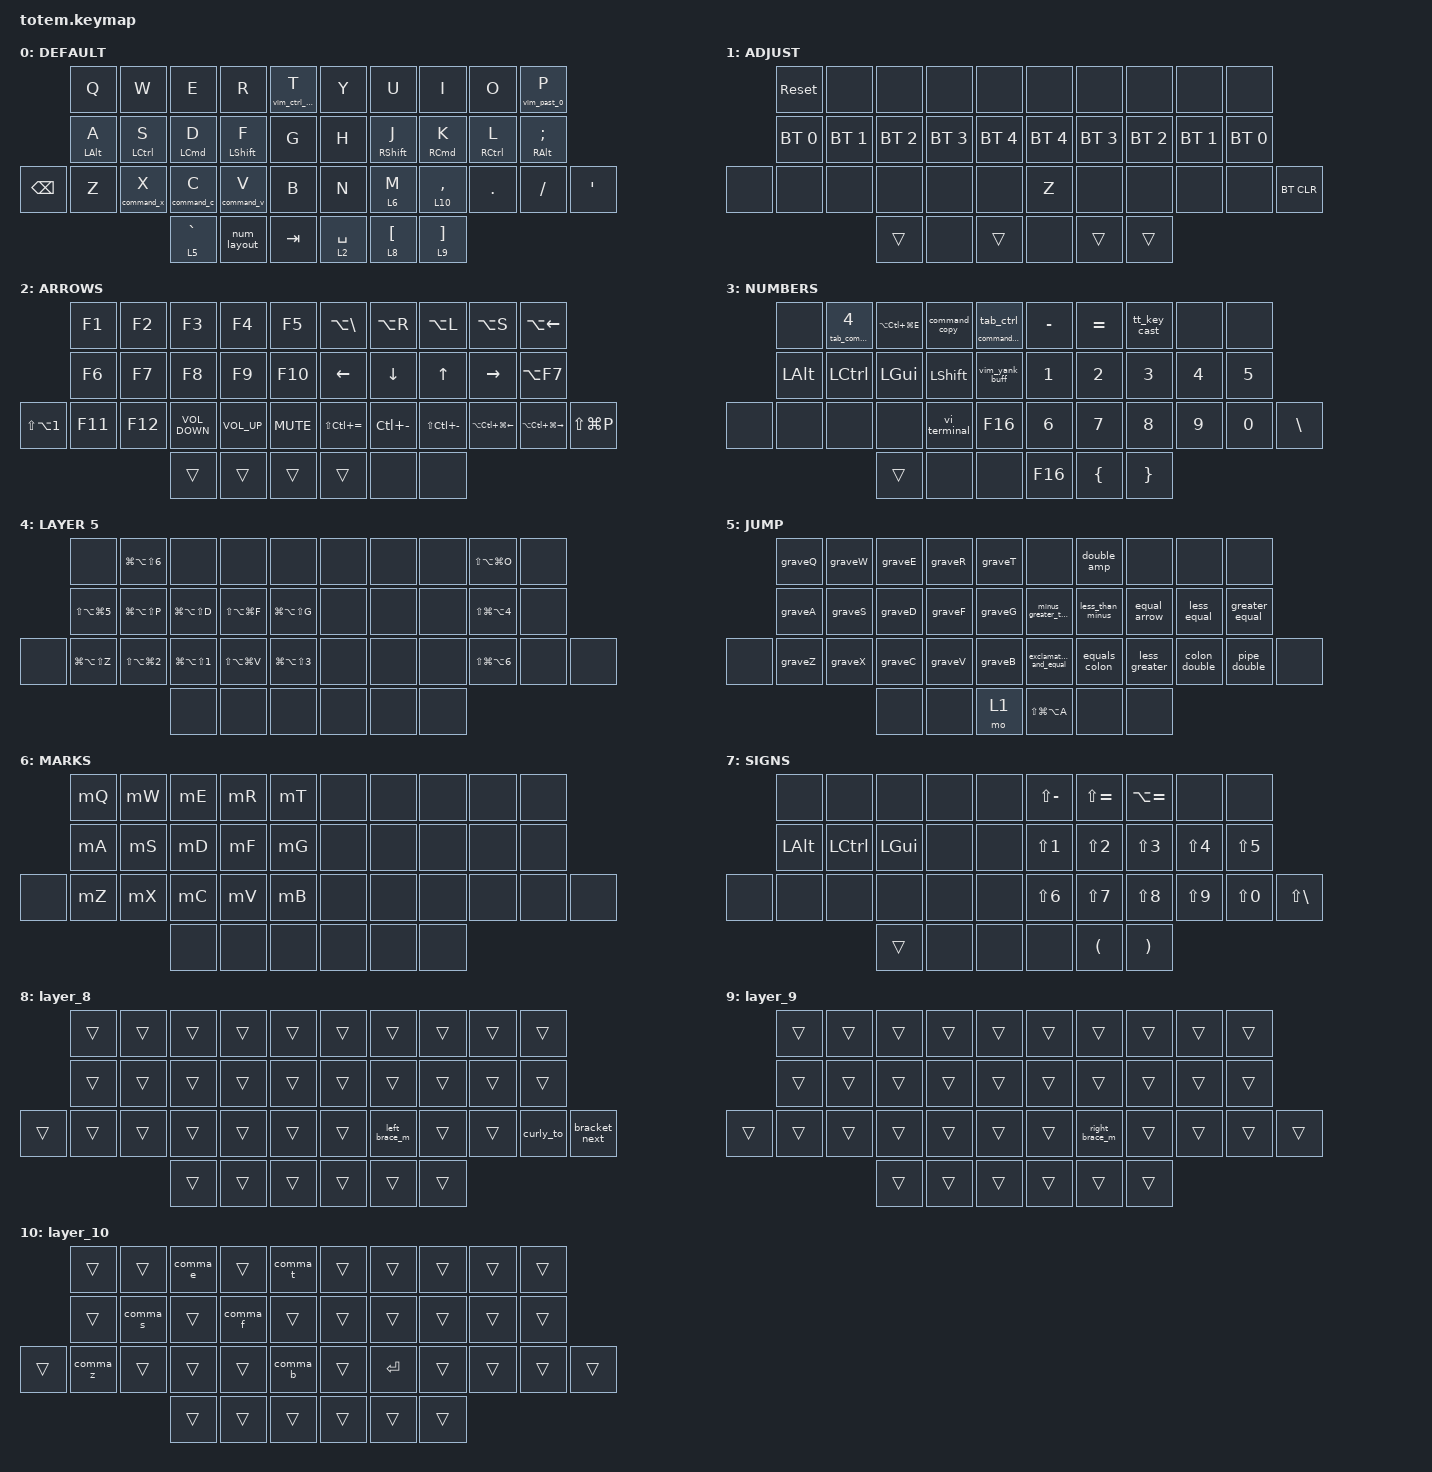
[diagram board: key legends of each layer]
//
//                                                        ▀▀▀▀▀     ▀▀▀▀▀          ▀▀█▀▀
//                                                        ▄▀▀▀▄  ▄  ▄▀▀▀▄  ▄  ▄▀▀▀▄  █  ▄▀▀▀▄
//                                                        █   █  █  █   █  █  █   █  █  █   █
//                                                         ▀▀▀   █   ▀▀▀   █   ▀▀▀   ▀   ▀▀▀
//                                                               █      ▄▄▄█▄▄▄    █   █  
//                                                               ▀      █  █  █     █▄█
//                                                             ▀▀▀▀▀    █  █  █      ▀
//                                                                      ▀  ▀  ▀
//
// ▄▄▄▄▄▄▄▄▄▄▄▄▄▄▄▄▄▄▄▄▄▄▄▄▄▄▄▄▄▄▄▄▄▄▄▄▄▄▄▄▄▄▄▄▄▄▄▄▄▄▄▄▄▄▄▄▄▄▄▄▄▄▄▄▄▄▄▄▄▄▄▄▄▄▄▄▄▄▄▄▄▄▄▄▄▄▄▄▄▄▄▄▄▄▄▄▄▄▄▄▄▄▄▄▄▄▄▄▄▄▄▄▄▄▄▄▄▄▄▄▄▄▄▄▄▄▄▄▄▄▄▄▄▄▄▄▄▄▄▄▄▄▄▄▄▄▄▄▄

#include <behaviors.dtsi>
#include <dt-bindings/zmk/bt.h>
#include <dt-bindings/zmk/keys.h>

#define DEF 0
#define ADJ 1
#define ARR 2
#define NUM 3
#define LY5 4
#define JMP 5
#define MRK 6
#define SGN 7

&lt { quick-tap-ms = <200>; };

&mt { quick-tap-ms = <200>; };

/ {
    conditional_layers { compatible = "zmk,conditional-layers"; };

    macros {
        vimCopyBuff: vimCopyBuff {
            compatible = "zmk,behavior-macro";
            #binding-cells = <0>;
            bindings = <&kp DQT &kp PLUS &kp Y>;
            label = "VIMCOPYBUFF";
        };

        minus_greater_than: new_macro {
            compatible = "zmk,behavior-macro";
            #binding-cells = <0>;
            bindings = <&kp MINUS &kp GT>;
            label = "NEW_MACRO";
        };

        alt_alt_without_releasing: new_macro2 {
            compatible = "zmk,behavior-macro";
            #binding-cells = <0>;
            bindings =
                <&macro_tap>,
                <&kp LEFT_ALT>,
                <&macro_press>,
                <&kp LEFT_ALT>,
                <&macro_pause_for_release>,
                <&macro_release>,
                <&kp LEFT_ALT>;

            label = "NEW_MACRO2";
        };

        shift_shift: shift_shift {
            compatible = "zmk,behavior-macro";
            #binding-cells = <0>;
            bindings = <&kp LEFT_SHIFT &kp LEFT_SHIFT>;
            label = "SHIFT_SHIFT";
        };

        exclamatory_and_equal: exclamatory_and_equal {
            compatible = "zmk,behavior-macro";
            #binding-cells = <0>;
            bindings = <&kp EXCL &kp EQUAL>;
            label = "EXCLAMATORY_AND_EQUAL";
        };

        less_than_minus: minus_less_than {
            compatible = "zmk,behavior-macro";
            #binding-cells = <0>;
            bindings = <&kp LESS_THAN &kp MINUS>;
            label = "minus_less_than";
        };

        equal_arrow: equal_arrow {
            compatible = "zmk,behavior-macro";
            #binding-cells = <0>;
            bindings = <&kp EQUAL &kp GT>;
            label = "EQUAL_ARROW";
        };

        equals_colon: equals_colon {
            compatible = "zmk,behavior-macro";
            #binding-cells = <0>;
            bindings = <&kp COLON &kp EQUAL>;
            label = "EQUALS_COLON";
        };

        less_greater: less_greater {
            compatible = "zmk,behavior-macro";
            #binding-cells = <0>;
            bindings = <&kp LT &kp GT &kp LEFT_ARROW>;
            label = "LESS_GREATER";
        };

        less_equal: less_equal {
            compatible = "zmk,behavior-macro";
            #binding-cells = <0>;
            bindings = <&kp LT &kp EQUAL>;
            label = "LESS_EQUAL";
        };

        greater_equal: greater_equal {
            compatible = "zmk,behavior-macro";
            #binding-cells = <0>;
            bindings = <&kp GT &kp EQUAL>;
            label = "GREATER_EQUAL";
        };

        colon_double: colon_double {
            compatible = "zmk,behavior-macro";
            #binding-cells = <0>;
            bindings = <&kp COLON &kp COLON>;
            label = "COLON_DOUBLE";
        };

        pipe_double: pipe_double {
            compatible = "zmk,behavior-macro";
            #binding-cells = <0>;
            bindings = <&kp PIPE &kp PIPE &kp LEFT_ARROW>;
            label = "PIPE_DOUBLE";
        };

        curly_brackets_double: curly_brackets_double {
            compatible = "zmk,behavior-macro";
            #binding-cells = <0>;
            bindings = <&kp LEFT_BRACE &kp RBRC &kp LEFT_ARROW>;
            label = "CURLY_BRACKETS_DOUBLE";
        };

        vimput: vimput {
            compatible = "zmk,behavior-macro";
            #binding-cells = <0>;
            bindings = <&kp DQT &kp N0 &kp P>;
            label = "VIMPUT";
        };

        vim_ctrl_caret: vim_ctrl_caret {
            compatible = "zmk,behavior-macro";
            #binding-cells = <0>;
            bindings =
                <&macro_tap>,
                <&kp LC(CARET)>,
                <&macro_press>,
                <&macro_pause_for_release>,
                <&macro_release>;

            label = "VIM_CTRL_CARET";
        };

        mQ: mQ {
            compatible = "zmk,behavior-macro";
            #binding-cells = <0>;
            bindings = <&kp M &kp LS(Q)>;
            label = "MQ";
        };

        graveQ: graveQ {
            compatible = "zmk,behavior-macro";
            #binding-cells = <0>;
            bindings = <&kp GRAVE &kp LS(Q)>;
            label = "GRAVEQ";
        };

        mW: mW {
            compatible = "zmk,behavior-macro";
            #binding-cells = <0>;
            bindings = <&kp M &kp LS(W)>;
            label = "MW";
        };

        graveW: graveW {
            compatible = "zmk,behavior-macro";
            #binding-cells = <0>;
            bindings = <&kp GRAVE &kp LS(W)>;
            label = "GRAVEW";
        };

        mE: mE {
            compatible = "zmk,behavior-macro";
            #binding-cells = <0>;
            bindings = <&kp M &kp LS(E)>;
            label = "ME";
        };

        graveE: graveE {
            compatible = "zmk,behavior-macro";
            #binding-cells = <0>;
            bindings = <&kp GRAVE &kp LS(E)>;
            label = "GRAVEE";
        };

        mR: mR {
            compatible = "zmk,behavior-macro";
            #binding-cells = <0>;
            bindings = <&kp M &kp LS(R)>;
            label = "MR";
        };

        graveR: graveR {
            compatible = "zmk,behavior-macro";
            #binding-cells = <0>;
            bindings = <&kp GRAVE &kp LS(R)>;
            label = "GRAVER";
        };

        mT: mT {
            compatible = "zmk,behavior-macro";
            #binding-cells = <0>;
            bindings = <&kp M &kp LS(T)>;
            label = "MT";
        };

        graveT: graveT {
            compatible = "zmk,behavior-macro";
            #binding-cells = <0>;
            bindings = <&kp GRAVE &kp LS(T)>;
            label = "GRAVET";
        };

        mA: mA {
            compatible = "zmk,behavior-macro";
            #binding-cells = <0>;
            bindings = <&kp M &kp LS(A)>;
            label = "MA";
        };

        graveA: graveA {
            compatible = "zmk,behavior-macro";
            #binding-cells = <0>;
            bindings = <&kp GRAVE &kp LS(A)>;
            label = "GRAVEA";
        };

        mS: mS {
            compatible = "zmk,behavior-macro";
            #binding-cells = <0>;
            bindings = <&kp M &kp LS(S)>;
            label = "MS";
        };

        graveS: graveS {
            compatible = "zmk,behavior-macro";
            #binding-cells = <0>;
            bindings = <&kp GRAVE &kp LS(S)>;
            label = "GRAVES";
        };

        mD: mD {
            compatible = "zmk,behavior-macro";
            #binding-cells = <0>;
            bindings = <&kp M &kp LS(D)>;
            label = "MD";
        };

        graveD: graveD {
            compatible = "zmk,behavior-macro";
            #binding-cells = <0>;
            bindings = <&kp GRAVE &kp LS(D)>;
            label = "GRAVED";
        };

        mF: mF {
            compatible = "zmk,behavior-macro";
            #binding-cells = <0>;
            bindings = <&kp M &kp LS(F)>;
            label = "MF";
        };

        graveF: graveF {
            compatible = "zmk,behavior-macro";
            #binding-cells = <0>;
            bindings = <&kp GRAVE &kp LS(F)>;
            label = "GRAVEF";
        };

        mG: mG {
            compatible = "zmk,behavior-macro";
            #binding-cells = <0>;
            bindings = <&kp M &kp LS(G)>;
            label = "MG";
        };

        graveG: graveG {
            compatible = "zmk,behavior-macro";
            #binding-cells = <0>;
            bindings = <&kp GRAVE &kp LS(G)>;
            label = "GRAVEG";
        };

        mZ: mZ {
            compatible = "zmk,behavior-macro";
            #binding-cells = <0>;
            bindings = <&kp M &kp LS(Z)>;
            label = "MZ";
        };

        graveZ: graveZ {
            compatible = "zmk,behavior-macro";
            #binding-cells = <0>;
            bindings = <&kp GRAVE &kp LS(Z)>;
            label = "GRAVEZ";
        };

        mX: mX {
            compatible = "zmk,behavior-macro";
            #binding-cells = <0>;
            bindings = <&kp M &kp LS(X)>;
            label = "MX";
        };

        graveX: graveX {
            compatible = "zmk,behavior-macro";
            #binding-cells = <0>;
            bindings = <&kp GRAVE &kp LS(X)>;
            label = "GRAVEX";
        };

        mC: mC {
            compatible = "zmk,behavior-macro";
            #binding-cells = <0>;
            bindings = <&kp M &kp LS(C)>;
            label = "MC";
        };

        graveC: graveC {
            compatible = "zmk,behavior-macro";
            #binding-cells = <0>;
            bindings = <&kp GRAVE &kp LS(C)>;
            label = "GRAVEC";
        };

        mV: mV {
            compatible = "zmk,behavior-macro";
            #binding-cells = <0>;
            bindings = <&kp M &kp LS(V)>;
            label = "MV";
        };

        graveV: graveV {
            compatible = "zmk,behavior-macro";
            #binding-cells = <0>;
            bindings = <&kp GRAVE &kp LS(V)>;
            label = "GRAVEV";
        };

        mB: mB {
            compatible = "zmk,behavior-macro";
            #binding-cells = <0>;
            bindings = <&kp M &kp LS(B)>;
            label = "MB";
        };

        graveB: graveB {
            compatible = "zmk,behavior-macro";
            #binding-cells = <0>;
            bindings = <&kp GRAVE &kp LS(B)>;
            label = "GRAVEB";
        };

        vim_yank_buff: vim_yank_buff {
            compatible = "zmk,behavior-macro";
            #binding-cells = <0>;
            bindings =
                <&macro_tap>,
                <&kp DQT &kp PLUS &kp Y>,
                <&macro_press>,
                <&macro_pause_for_release>,
                <&macro_release>;

            label = "VIM_YANK_BUFF";
        };

        vim_past_0: vim_past_0 {
            compatible = "zmk,behavior-macro";
            #binding-cells = <0>;
            bindings =
                <&macro_tap>,
                <&kp DQT &kp N0 &kp P>,
                <&macro_press>,
                <&macro_pause_for_release>,
                <&macro_release>;

            label = "VIM_PAST_0";
        };

        command_copy: command_copy {
            compatible = "zmk,behavior-macro";
            #binding-cells = <0>;
            bindings = <&kp COLON &kp PRCNT &kp Y &kp PLUS &kp ENTER>;
            label = "COMMAND_COPY";
        };

        right_parenthesis: bracket_closing {
            compatible = "zmk,behavior-macro";
            #binding-cells = <0>;
            bindings =
                <&macro_tap>,
                <&kp RIGHT_PARENTHESIS>,
                <&macro_press>,
                <&macro_pause_for_release>,
                <&macro_release>;

            label = "BRACKET_CLOSING";
        };

        tab_command: tab_command {
            compatible = "zmk,behavior-macro";
            #binding-cells = <0>;
            bindings =
                <&macro_tap>,
                <&kp LG(TAB)>,
                <&macro_press>,
                <&macro_pause_for_release>,
                <&macro_release>;

            label = "TAB_COMMAND";
        };

        ctrl_o: ctrl_o {
            compatible = "zmk,behavior-macro";
            #binding-cells = <0>;
            bindings =
                <&macro_tap>,
                <&kp LC(O)>,
                <&macro_press>,
                <&macro_pause_for_release>,
                <&macro_release>;

            label = "CTRL_O";
        };

        ctrl_i: ctrl_i {
            compatible = "zmk,behavior-macro";
            #binding-cells = <0>;
            bindings =
                <&macro_tap>,
                <&kp LC(I)>,
                <&macro_press>,
                <&macro_pause_for_release>,
                <&macro_release>;

            label = "CTRL_I";
        };

        slash__enter: slash__enter {
            compatible = "zmk,behavior-macro";
            #binding-cells = <0>;
            bindings = <&kp FSLH &kp UNDER &kp UNDER &kp ENTER>;
            label = "SLASH__ENTER";
        };

        command_v: command_v {
            compatible = "zmk,behavior-macro";
            #binding-cells = <0>;
            bindings =
                <&macro_tap>,
                <&kp LG(V)>,
                <&macro_press>,
                <&macro_pause_for_release>,
                <&macro_release>;

            label = "COMMAND_V";
        };

        command_c: command_c {
            compatible = "zmk,behavior-macro";
            #binding-cells = <0>;
            bindings =
                <&macro_tap>,
                <&kp LG(C)>,
                <&macro_press>,
                <&macro_pause_for_release>,
                <&macro_release>;

            label = "COMMAND_C";
        };

        command_x: command_x {
            compatible = "zmk,behavior-macro";
            #binding-cells = <0>;
            bindings =
                <&macro_tap>,
                <&kp LG(X)>,
                <&macro_press>,
                <&macro_pause_for_release>,
                <&macro_release>;

            label = "COMMAND_X";
        };

        tab_ctrl: tab_ctrl {
            compatible = "zmk,behavior-macro";
            #binding-cells = <0>;
            bindings =
                <&macro_tap>,
                <&kp LC(TAB)>,
                <&macro_press>,
                <&macro_pause_for_release>,
                <&macro_release>;

            label = "TAB_CTRL";
        };

        command_grave: command_grave {
            compatible = "zmk,behavior-macro";
            #binding-cells = <0>;
            bindings =
                <&macro_tap>,
                <&kp LG(GRAVE)>,
                <&macro_press>,
                <&macro_pause_for_release>,
                <&macro_release>;

            label = "COMMAND_GRAVE";
        };

        tt_key_cast: tt_key_cast {
            compatible = "zmk,behavior-macro";
            #binding-cells = <0>;
            bindings = <&kp LC(SPACE) &kp Z &kp LC(SPACE) &kp J &kp LG(NUMBER_1)>;
            label = "TT_KEY_CAST";
        };

        unicode_smile: unicode_smile {
            compatible = "zmk,behavior-macro";
            #binding-cells = <0>;
            bindings = <&kp LC(V) &kp U &kp NUMBER_2 &kp NUMBER_6 &kp NUMBER_3 &kp A>;
            label = "UNICODE_SMILE";
        };

        unicode_smile_2: unicode_smile_2 {
            compatible = "zmk,behavior-macro";
            #binding-cells = <0>;
            bindings = <&kp LC(V) &kp LS(U) &kp N0 &kp N0 &kp N0 &kp N1 &kp LS(F) &kp N6 &kp N0 &kp N0>;
            label = "UNICODE_SMILE_2";
        };

        right_brace_m: right_brace_m {
            compatible = "zmk,behavior-macro";
            #binding-cells = <0>;
            bindings = <&kp RIGHT_BRACKET &kp M>;
            label = "RIGHT_BRACE_M";
        };

        left_brace_m: left_brace_m {
            compatible = "zmk,behavior-macro";
            #binding-cells = <0>;
            bindings =
                <&macro_tap>,
                <&kp LEFT_BRACKET &kp M>,
                <&macro_press>,
                <&macro_pause_for_release>,
                <&macro_release>,
                <&macro_tap>;

            label = "LEFT_BRACE_M";
        };

        bracket_to: bracket_to {
            compatible = "zmk,behavior-macro";
            #binding-cells = <0>;
            bindings = <&kp H &kp V &kp A &kp LPAR &kp PRCNT &kp V>;
            label = "BRACKET_TO";
        };

        curly_to: curly_to {
            compatible = "zmk,behavior-macro";
            #binding-cells = <0>;
            bindings = <&kp H &kp V &kp A &kp LEFT_BRACE &kp PRCNT &kp V>;
            label = "CURLY_TO";
        };

        bracket_next: bracket_next {
            compatible = "zmk,behavior-macro";
            #binding-cells = <0>;
            bindings = <&kp L &kp V &kp A &kp LPAR &kp V>;
            label = "BRACKET_NEXT";
        };

        curly_next: curly_next {
            compatible = "zmk,behavior-macro";
            #binding-cells = <0>;
            bindings = <&kp L &kp V &kp A &kp LEFT_BRACE &kp DOLLAR &kp V>;
            label = "CURLY_NEXT";
        };

        vi_terminal: vi_terminal {
            compatible = "zmk,behavior-macro";
            #binding-cells = <0>;
            bindings = <&hml LG(RCTRL) LC(SPACE) &kp M &kp ENTER &kp V>;
            label = "VI_TERMINAL";
        };
    };

    behaviors {
        comma_s: comma_s {
            compatible = "zmk,behavior-macro";
            #binding-cells = <0>;
            bindings = <&kp COMMA &kp S>;
        };

        comma_e: comma_e {
            compatible = "zmk,behavior-macro";
            #binding-cells = <0>;
            bindings = <&kp COMMA &kp E>;
        };

        comma_t: comma_t {
            compatible = "zmk,behavior-macro";
            #binding-cells = <0>;
            bindings = <&kp COMMA &kp T>;
        };

        comma_f: comma_f {
            compatible = "zmk,behavior-macro";
            #binding-cells = <0>;
            bindings = <&kp COMMA &kp F>;
        };

        comma_z: comma_z {
            compatible = "zmk,behavior-macro";
            #binding-cells = <0>;
            bindings = <&kp COMMA &kp Z>;
        };

        comma_b: comma_b {
            compatible = "zmk,behavior-macro";
            #binding-cells = <0>;
            bindings = <&kp COMMA &kp B>;
        };

        double_amp: double_amp {
            compatible = "zmk,behavior-macro";
            #binding-cells = <0>;
            bindings = <&kp SPACE &kp AMPERSAND &kp AMPERSAND>;
            label = "DOUBLE_AMP";
        };

        vimCopyBuffHold: vimCopyBuffHold {
            compatible = "zmk,behavior-hold-tap";
            label = "VIMCOPYBUFFHOLD";
            bindings = <&mo>, <&vimCopyBuff>;

            #binding-cells = <2>;
            tapping-term-ms = <200>;
        };

        hml: homewrow_mods_left {
            compatible = "zmk,behavior-hold-tap";
            label = "HOMEROW_MODS_LEFT_HAND";
            bindings = <&kp>, <&kp>;

            #binding-cells = <2>;
            tapping-term-ms = <200>;
            hold-trigger-key-positions = <5 6 7 8 9 15 16 17 18 19 26 27 28 29 30 31 35 36 37 20 21 22 14 25 0 1 2 3 4 23 24 32 33 34 3 4 13 14 24 25 0 1 2 3 4 10 11 12 13 14 20 21 22 23 24 25 32 33 34>;
            flavor = "tap-preferred";
            hold-while-undecided;
        };

        hml_preferred: homewrow_mods_right {
            compatible = "zmk,behavior-hold-tap";
            label = "HOMEROW_MODS_RIGHT_HAND";
            bindings = <&kp>, <&kp>;

            #binding-cells = <2>;
            tapping-term-ms = <200>;
            hold-trigger-key-positions = <5 6 7 8 9 31 30 29 28 27 16 15 36 37 26 19 18 17 35>;
        };

        mt_hold_prefer_release: mt_hold_prefer_release {
            compatible = "zmk,behavior-hold-tap";
            label = "MT_HOLD_PREFER_RELEASE";
            bindings = <&kp>, <&kp>;

            #binding-cells = <2>;
            tapping-term-ms = <200>;
            hold-trigger-key-positions = <0 1 2 3 4 5 6 7 8 9 10 11 12 13 14 15 16 17 18 19 20 21 22 23 24 25 26 27 28 29 30 31 25 26 32 33 34 35 36 37>;
            hold-trigger-on-release;
        };

        lt_hold_prefer_release: lt_hold_prefer_release {
            compatible = "zmk,behavior-hold-tap";
            label = "LT_HOLD_PREFER_RELEASE";
            bindings = <&mo>, <&kp>;

            #binding-cells = <2>;
            tapping-term-ms = <200>;
            hold-trigger-on-release;
        };

        layer7_a: layer7_a {
            compatible = "zmk,behavior-hold-tap";
            label = "LAYER7_A";
            bindings = <&alt_alt_without_releasing>, <&minus_greater_than>;

            #binding-cells = <2>;
            tapping-term-ms = <200>;
            flavor = "tap-preferred";
        };

        layer7_f: layer7_f {
            compatible = "zmk,behavior-hold-tap";
            label = "LAYER7_F";
            bindings = <&shift_shift>, <&exclamatory_and_equal>;

            #binding-cells = <2>;
            tapping-term-ms = <200>;
            flavor = "tap-preferred";
        };

        brackets: brackets {
            compatible = "zmk,behavior-hold-tap";
            label = "BRACKETS";
            bindings = <&mo>, <&kp>;

            #binding-cells = <2>;
            tapping-term-ms = <100>;
            hold-trigger-on-release;
            flavor = "balanced";
            hold-while-undecided;
        };

        mt2: mt2 {
            compatible = "zmk,behavior-hold-tap";
            label = "MT2";
            bindings = <&sk>, <&kp>;

            #binding-cells = <2>;
            tapping-term-ms = <200>;
            quick-tap-ms = <100>;
            flavor = "tap-preferred";
            hold-trigger-on-release;
        };

        lt_tap_prefer_release: lt_tap_prefer_release {
            compatible = "zmk,behavior-hold-tap";
            label = "LT_TAP_PREFER_RELEASE";
            bindings = <&mo>, <&kp>;

            #binding-cells = <2>;
            tapping-term-ms = <200>;
            flavor = "tap-preferred";
            retro-tap;
        };

        kp_and_vim_ctrl_caret: kp_and_vim_ctrl_caret {
            compatible = "zmk,behavior-hold-tap";
            label = "KP_AND_VIM_CTRL_CARET";
            bindings = <&vim_ctrl_caret>, <&kp>;

            #binding-cells = <2>;
            tapping-term-ms = <200>;
            flavor = "tap-preferred";
        };

        lt_hold_prefer_release2: lt_hold_prefer_release2 {
            compatible = "zmk,behavior-hold-tap";
            label = "LT_HOLD_PREFER_RELEASE2";
            bindings = <&mo>, <&sl1000>;

            #binding-cells = <2>;
            tapping-term-ms = <200>;
            hold-trigger-on-release;
        };

        sl1000: sl1000 {
            compatible = "zmk,behavior-sticky-key";
            label = "SL1000";
            bindings = <&mo>;
            #binding-cells = <1>;
            release-after-ms = <1000>;
        };

        kp_and_vim_yank_buff: kp_and_vim_yank_buff {
            compatible = "zmk,behavior-hold-tap";
            label = "KP_AND_VIM_YANK_BUFF";
            bindings = <&vim_yank_buff>, <&kp>;

            #binding-cells = <2>;
            tapping-term-ms = <200>;
            flavor = "tap-preferred";
        };

        kp_and_vim_past_0: kp_and_vim_past_0 {
            compatible = "zmk,behavior-hold-tap";
            label = "KP_AND_VIM_PAST_0";
            bindings = <&vim_past_0>, <&kp>;

            #binding-cells = <2>;
            tapping-term-ms = <200>;
            flavor = "tap-preferred";
        };

        nums_signs_layer: nums_signs_layer {
            compatible = "zmk,behavior-tap-dance";
            label = "NUMS_SIGNS_LAYER";
            #binding-cells = <0>;
            bindings = <&mo 3>, <&mo 7>;

            tapping-term-ms = <500>;
        };

        right_parenthesis_left: right_parenthesis_left {
            compatible = "zmk,behavior-hold-tap";
            label = "RIGHT_PARENTHESIS_LEFT";
            bindings = <&right_parenthesis>, <&kp>;

            #binding-cells = <2>;
            tapping-term-ms = <200>;
            flavor = "tap-preferred";
        };

        tab_command_tab: tab_command_tab {
            compatible = "zmk,behavior-hold-tap";
            label = "TAB_COMMAND_TAB";
            bindings = <&tab_command>, <&sl1000>;

            #binding-cells = <2>;
            tapping-term-ms = <200>;
            flavor = "tap-preferred";
        };

        ctrl_o_o: ctrl_o_o {
            compatible = "zmk,behavior-hold-tap";
            label = "CTRL_O_O";
            bindings = <&ctrl_o>, <&kp>;

            #binding-cells = <2>;
            tapping-term-ms = <200>;
            flavor = "tap-preferred";
        };

        sign_layout: sign_layout {
            compatible = "zmk,behavior-hold-tap";
            label = "SIGN_LAYOUT";
            bindings = <&mo>, <&sl>;

            #binding-cells = <2>;
            tapping-term-ms = <200>;
        };

        num_layout: num_layout {
            compatible = "zmk,behavior-tap-dance";
            label = "NUM_LAYOUT";
            #binding-cells = <0>;
            bindings = <&mo 3>, <&sign_layout 7 7>;

            tapping-term-ms = <400>;
        };

        ctrl_i_i: ctrl_i_i {
            compatible = "zmk,behavior-hold-tap";
            label = "CTRL_I_I";
            bindings = <&ctrl_i>, <&kp>;

            #binding-cells = <2>;
            tapping-term-ms = <200>;
            flavor = "tap-preferred";
        };

        v_command_v: v_command_v {
            compatible = "zmk,behavior-hold-tap";
            label = "V_COMMAND_V";
            bindings = <&command_v>, <&kp>;

            #binding-cells = <2>;
            tapping-term-ms = <200>;
            flavor = "tap-preferred";
        };

        c_command_c: c_command_c {
            compatible = "zmk,behavior-hold-tap";
            label = "C_COMMAND_C";
            bindings = <&command_c>, <&kp>;

            #binding-cells = <2>;
            tapping-term-ms = <200>;
            flavor = "tap-preferred";
        };

        x_command_x: x_command_x {
            compatible = "zmk,behavior-hold-tap";
            label = "X_COMMAND_X";
            bindings = <&command_x>, <&kp>;

            #binding-cells = <2>;
            tapping-term-ms = <200>;
            flavor = "tap-preferred";
        };

        tab_ctrl_tab: tab_ctrl_tab {
            compatible = "zmk,behavior-hold-tap";
            label = "TAB_CTRL_TAB";
            bindings = <&tab_ctrl>, <&kp>;

            #binding-cells = <2>;
            tapping-term-ms = <200>;
            flavor = "tap-preferred";
        };

        command_grave_command: command_grave_command {
            compatible = "zmk,behavior-hold-tap";
            label = "COMMAND_GRAVE_COMMAND";
            bindings = <&command_grave>, <&tab_ctrl>;

            #binding-cells = <2>;
            tapping-term-ms = <200>;
            flavor = "tap-preferred";
        };

        kp_and_vim_yank_buff_2: kp_and_vim_yank_buff_2 {
            compatible = "zmk,behavior-hold-tap";
            label = "KP_AND_VIM_YANK_BUFF_2";
            bindings = <&slash__enter>, <&vim_yank_buff>;

            #binding-cells = <2>;
            tapping-term-ms = <200>;
            flavor = "tap-preferred";
        };

        tap_dance_yank: tap_dance_yank {
            compatible = "zmk,behavior-tap-dance";
            label = "TAP_DANCE_YANK";
            #binding-cells = <0>;
            bindings = <&kp Y>, <&vim_yank_buff>;

            tapping-term-ms = <150>;
        };

        lt_hold_prefer_release_retro: lt_hold_prefer_release_retro {
            compatible = "zmk,behavior-hold-tap";
            label = "LT_HOLD_PREFER_RELEASE_RETRO";
            bindings = <&mo>, <&kp>;

            #binding-cells = <2>;
            tapping-term-ms = <200>;
            hold-trigger-on-release;
            retro-tap;
        };
    };

    combos {
        compatible = "zmk,combos";

        ctrl+space {
            bindings = <&hml LG(RCTRL) LC(SPACE)>;
            key-positions = <17 18>;
            layers = <0>;
            timeout-ms = <200>;
        };

        escape3 {
            bindings = <&mt LG(LEFT_SHIFT) ESCAPE>;
            key-positions = <16 17>;
            layers = <0>;
            require-prior-idle-ms = <100>;
        };

        ctrl_o {
            bindings = <&kp LC(O)>;
            key-positions = <18 8>;
            require-prior-idle-ms = <200>;
            layers = <0>;
        };

        enter2 {
            bindings = <&kp ENTER>;
            key-positions = <28 27>;
            timeout-ms = <400>;
            require-prior-idle-ms = <100>;
            layers = <0>;
        };
    };

    keymap {
        compatible = "zmk,keymap";

        default_layer {
            // ┏━━━━━━━━━━━━━━━━━━━━━━━━━━━━━━━━━━━━━━━┓

            label = "DEFAULT";

            // ┗━━━━━━━━━━━━━━━━━━━━━━━━━━━━━━━━━━━━━━━┛
            //             ┏━━━━━━━━━━━┳━━━━━━━━━━━┳━━━━━━━━━━━┳━━━━━━━━━━━┳━━━━━━━━━━━┓   ┏━━━━━━━━━━━┳━━━━━━━━━━━┳━━━━━━━━━━━┳━━━━━━━━━━━┳━━━━━━━━━━━┓
            //             ┃           ┃           ┃           ┃           ┃           ┃   ┃           ┃           ┃           ┃           ┃           ┃
            //             ┣━━━━━━━━━━━╋━━━━━━━━━━━╋━━━━━━━━━━━╋━━━━━━━━━━━╋━━━━━━━━━━━┫   ┣━━━━━━━━━━━╋━━━━━━━━━━━╋━━━━━━━━━━━╋━━━━━━━━━━━╋━━━━━━━━━━━┫
            //             ┃           ┃           ┃           ┃           ┃           ┃   ┃           ┃           ┃           ┃           ┃           ┃
            // ┏━━━━━━━━━━━╋━━━━━━━━━━━╋━━━━━━━━━━━╋━━━━━━━━━━━╋━━━━━━━━━━━╋━━━━━━━━━━━┫   ┣━━━━━━━━━━━╋━━━━━━━━━━━╋━━━━━━━━━━━╋━━━━━━━━━━━╋━━━━━━━━━━━╋━━━━━━━━━━━┓
            // ┃           ┃           ┃           ┃           ┃           ┃           ┃   ┃           ┃           ┃           ┃           ┃           ┃           ┃
            // ┗━━━━━━━━━━━┻━━━━━━━━━━━┻━━━━━━━━━━━╋━━━━━━━━━━━╋━━━━━━━━━━━╋━━━━━━━━━━━┫   ┣━━━━━━━━━━━╋━━━━━━━━━━━╋━━━━━━━━━━━╋━━━━━━━━━━━┻━━━━━━━━━━━┻━━━━━━━━━━━┛
            //                                     ┃           ┃           ┃           ┃   ┃           ┃           ┃           ┃
            //                                     ┗━━━━━━━━━━━┻━━━━━━━━━━━┻━━━━━━━━━━━┛   ┗━━━━━━━━━━━┻━━━━━━━━━━━┻━━━━━━━━━━━┛

            bindings = <
               &kp Q            &kp W             &kp E                            &kp R              &kp_and_vim_ctrl_caret 0 T    &kp Y                           &kp U                                         &kp I                                          &kp O         &kp_and_vim_past_0 0 P
               &hml LEFT_ALT A  &hml LCTRL S      &hml LEFT_COMMAND D              &hml LEFT_SHIFT F  &kp G                         &kp H                           &hml RIGHT_SHIFT J                            &hml RIGHT_COMMAND K                           &hml RCTRL L  &hml RIGHT_ALT SEMICOLON
&kp BACKSPACE  &kp Z            &x_command_x 0 X  &c_command_c 0 C                 &v_command_v 0 V   &kp B                         &kp N                           &lt_tap_prefer_release 6 M                    &lt_hold_prefer_release_retro 10 COMMA         &kp DOT       &kp SLASH                 &kp SQT
                                                  &lt_hold_prefer_release 5 GRAVE  &num_layout        &kp TAB                       &lt_tap_prefer_release 2 SPACE  &lt_hold_prefer_release_retro 8 LEFT_BRACKET  &lt_hold_prefer_release_retro 9 RIGHT_BRACKET
            >;
        };

        adjust {
            // ┏━━━━━━━━━━━━━━━━━━━━━━━━━━━━━━━━━━━━━━━┓

            label = "ADJUST";

            // ┗━━━━━━━━━━━━━━━━━━━━━━━━━━━━━━━━━━━━━━━┛
            //             ┏━━━━━━━━━━━┳━━━━━━━━━━━┳━━━━━━━━━━━┳━━━━━━━━━━━┳━━━━━━━━━━━┓   ┏━━━━━━━━━━━┳━━━━━━━━━━━┳━━━━━━━━━━━┳━━━━━━━━━━━┳━━━━━━━━━━━┓
            //             ┃           ┃           ┃           ┃           ┃           ┃   ┃           ┃           ┃           ┃           ┃           ┃
            //             ┣━━━━━━━━━━━╋━━━━━━━━━━━╋━━━━━━━━━━━╋━━━━━━━━━━━╋━━━━━━━━━━━┫   ┣━━━━━━━━━━━╋━━━━━━━━━━━╋━━━━━━━━━━━╋━━━━━━━━━━━╋━━━━━━━━━━━┫
            //             ┃           ┃           ┃           ┃           ┃           ┃   ┃           ┃           ┃           ┃           ┃           ┃
            // ┏━━━━━━━━━━━╋━━━━━━━━━━━╋━━━━━━━━━━━╋━━━━━━━━━━━╋━━━━━━━━━━━╋━━━━━━━━━━━┫   ┣━━━━━━━━━━━╋━━━━━━━━━━━╋━━━━━━━━━━━╋━━━━━━━━━━━╋━━━━━━━━━━━╋━━━━━━━━━━━┓
            // ┃           ┃           ┃           ┃           ┃           ┃           ┃   ┃           ┃           ┃           ┃           ┃           ┃           ┃
            // ┗━━━━━━━━━━━┻━━━━━━━━━━━┻━━━━━━━━━━━╋━━━━━━━━━━━╋━━━━━━━━━━━╋━━━━━━━━━━━┫   ┣━━━━━━━━━━━╋━━━━━━━━━━━╋━━━━━━━━━━━╋━━━━━━━━━━━┻━━━━━━━━━━━┻━━━━━━━━━━━┛
            //                                     ┃           ┃           ┃           ┃   ┃           ┃           ┃           ┃
            //                                     ┗━━━━━━━━━━━┻━━━━━━━━━━━┻━━━━━━━━━━━┛   ┗━━━━━━━━━━━┻━━━━━━━━━━━┻━━━━━━━━━━━┛

            bindings = <
       &sys_reset    &none         &none         &none         &none           &none         &none         &none         &none         &none
       &bt BT_SEL 0  &bt BT_SEL 1  &bt BT_SEL 2  &bt BT_SEL 3  &bt BT_SEL 4    &bt BT_SEL 4  &bt BT_SEL 3  &bt BT_SEL 2  &bt BT_SEL 1  &bt BT_SEL 0
&none  &none         &none         &none         &none         &none           &kp Z         &none         &none         &none         &none         &bt BT_CLR
                                   &trans        &none         &trans          &none         &trans        &trans
            >;
        };

        arrows {
            // ┏━━━━━━━━━━━━━━━━━━━━━━━━━━━━━━━━━━━━━━━┓

            label = "ARROWS";

            // ┗━━━━━━━━━━━━━━━━━━━━━━━━━━━━━━━━━━━━━━━┛
            //             ┏━━━━━━━━━━━┳━━━━━━━━━━━┳━━━━━━━━━━━┳━━━━━━━━━━━┳━━━━━━━━━━━┓   ┏━━━━━━━━━━━┳━━━━━━━━━━━┳━━━━━━━━━━━┳━━━━━━━━━━━┳━━━━━━━━━━━┓
            //             ┃           ┃           ┃           ┃           ┃           ┃   ┃           ┃           ┃           ┃           ┃           ┃
            //             ┣━━━━━━━━━━━╋━━━━━━━━━━━╋━━━━━━━━━━━╋━━━━━━━━━━━╋━━━━━━━━━━━┫   ┣━━━━━━━━━━━╋━━━━━━━━━━━╋━━━━━━━━━━━╋━━━━━━━━━━━╋━━━━━━━━━━━┫
            //             ┃           ┃           ┃           ┃           ┃           ┃   ┃           ┃           ┃           ┃           ┃           ┃
            // ┏━━━━━━━━━━━╋━━━━━━━━━━━╋━━━━━━━━━━━╋━━━━━━━━━━━╋━━━━━━━━━━━╋━━━━━━━━━━━┫   ┣━━━━━━━━━━━╋━━━━━━━━━━━╋━━━━━━━━━━━╋━━━━━━━━━━━╋━━━━━━━━━━━╋━━━━━━━━━━━┓
            // ┃           ┃           ┃           ┃           ┃           ┃           ┃   ┃           ┃           ┃           ┃           ┃           ┃           ┃
            // ┗━━━━━━━━━━━┻━━━━━━━━━━━┻━━━━━━━━━━━╋━━━━━━━━━━━╋━━━━━━━━━━━╋━━━━━━━━━━━┫   ┣━━━━━━━━━━━╋━━━━━━━━━━━╋━━━━━━━━━━━╋━━━━━━━━━━━┻━━━━━━━━━━━┻━━━━━━━━━━━┛
            //                                     ┃           ┃           ┃           ┃   ┃           ┃           ┃           ┃
            //                                     ┗━━━━━━━━━━━┻━━━━━━━━━━━┻━━━━━━━━━━━┛   ┗━━━━━━━━━━━┻━━━━━━━━━━━┻━━━━━━━━━━━┛

            bindings = <
                      &kp F1   &kp F2   &kp F3             &kp F4           &kp F5        &kp LA(BSLH)       &kp LA(R)       &kp LA(L)          &kp LA(S)                   &kp LA(LEFT_ARROW)
                      &kp F6   &kp F7   &kp F8             &kp F9           &kp F10       &kp LEFT_ARROW     &kp DOWN_ARROW  &kp UP_ARROW       &kp RIGHT_ARROW             &kp LA(F7)
&kp LS(LA(NUMBER_1))  &kp F11  &kp F12  &kp C_VOLUME_DOWN  &kp C_VOLUME_UP  &kp C_MUTE    &kp LS(LC(EQUAL))  &kp LC(MINUS)   &kp LS(LC(MINUS))  &kp LA(LC(LG(LEFT_ARROW)))  &kp LA(LC(LG(RIGHT_ARROW)))  &kp LS(LG(P))
                                        &trans             &trans           &trans        &trans             &none           &none
            >;
        };

        numbers {
            // ┏━━━━━━━━━━━━━━━━━━━━━━━━━━━━━━━━━━━━━━━┓

            label = "NUMBERS";

            // ┗━━━━━━━━━━━━━━━━━━━━━━━━━━━━━━━━━━━━━━━┛
            //             ┏━━━━━━━━━━━┳━━━━━━━━━━━┳━━━━━━━━━━━┳━━━━━━━━━━━┳━━━━━━━━━━━┓   ┏━━━━━━━━━━━┳━━━━━━━━━━━┳━━━━━━━━━━━┳━━━━━━━━━━━┳━━━━━━━━━━━┓
            //             ┃           ┃           ┃           ┃           ┃           ┃   ┃           ┃           ┃           ┃           ┃           ┃
            //             ┣━━━━━━━━━━━╋━━━━━━━━━━━╋━━━━━━━━━━━╋━━━━━━━━━━━╋━━━━━━━━━━━┫   ┣━━━━━━━━━━━╋━━━━━━━━━━━╋━━━━━━━━━━━╋━━━━━━━━━━━╋━━━━━━━━━━━┫
            //             ┃           ┃           ┃           ┃           ┃           ┃   ┃           ┃           ┃           ┃           ┃           ┃
            // ┏━━━━━━━━━━━╋━━━━━━━━━━━╋━━━━━━━━━━━╋━━━━━━━━━━━╋━━━━━━━━━━━╋━━━━━━━━━━━┫   ┣━━━━━━━━━━━╋━━━━━━━━━━━╋━━━━━━━━━━━╋━━━━━━━━━━━╋━━━━━━━━━━━╋━━━━━━━━━━━┓
            // ┃           ┃           ┃           ┃           ┃           ┃           ┃   ┃           ┃           ┃           ┃           ┃           ┃           ┃
            // ┗━━━━━━━━━━━┻━━━━━━━━━━━┻━━━━━━━━━━━╋━━━━━━━━━━━╋━━━━━━━━━━━╋━━━━━━━━━━━┫   ┣━━━━━━━━━━━╋━━━━━━━━━━━╋━━━━━━━━━━━╋━━━━━━━━━━━┻━━━━━━━━━━━┻━━━━━━━━━━━┛
            //                                     ┃           ┃           ┃           ┃   ┃           ┃           ┃           ┃
            //                                     ┗━━━━━━━━━━━┻━━━━━━━━━━━┻━━━━━━━━━━━┛   ┗━━━━━━━━━━━┻━━━━━━━━━━━┻━━━━━━━━━━━┛

            bindings = <
       &none         &tab_command_tab 0 4  &kp LA(LC(LG(E)))  &command_copy   &command_grave_command 0 0    &kp MINUS     &kp EQUAL       &tt_key_cast     &none   &none
       &kp LEFT_ALT  &kp LCTRL             &kp LEFT_GUI       &kp LEFT_SHIFT  &vim_yank_buff                &kp N1        &kp N2          &kp N3           &kp N4  &kp N5
&none  &none         &none                 &none              &vi_terminal    &kp F16                       &kp NUMBER_6  &kp N7          &kp N8           &kp N9  &kp N0  &kp BACKSLASH
                                           &trans             &none           &none                         &kp F16       &kp LEFT_BRACE  &kp RIGHT_BRACE
            >;
        };

        layer_5 {
            // ┏━━━━━━━━━━━━━━━━━━━━━━━━━━━━━━━━━━━━━━━┓

            label = "LAYER 5";

            // ┗━━━━━━━━━━━━━━━━━━━━━━━━━━━━━━━━━━━━━━━┛
            //             ┏━━━━━━━━━━━┳━━━━━━━━━━━┳━━━━━━━━━━━┳━━━━━━━━━━━┳━━━━━━━━━━━┓   ┏━━━━━━━━━━━┳━━━━━━━━━━━┳━━━━━━━━━━━┳━━━━━━━━━━━┳━━━━━━━━━━━┓
            //             ┃           ┃           ┃           ┃           ┃           ┃   ┃           ┃           ┃           ┃           ┃           ┃
            //             ┣━━━━━━━━━━━╋━━━━━━━━━━━╋━━━━━━━━━━━╋━━━━━━━━━━━╋━━━━━━━━━━━┫   ┣━━━━━━━━━━━╋━━━━━━━━━━━╋━━━━━━━━━━━╋━━━━━━━━━━━╋━━━━━━━━━━━┫
            //             ┃           ┃           ┃           ┃           ┃           ┃   ┃           ┃           ┃           ┃           ┃           ┃
            // ┏━━━━━━━━━━━╋━━━━━━━━━━━╋━━━━━━━━━━━╋━━━━━━━━━━━╋━━━━━━━━━━━╋━━━━━━━━━━━┫   ┣━━━━━━━━━━━╋━━━━━━━━━━━╋━━━━━━━━━━━╋━━━━━━━━━━━╋━━━━━━━━━━━╋━━━━━━━━━━━┓
            // ┃           ┃           ┃           ┃           ┃           ┃           ┃   ┃           ┃           ┃           ┃           ┃           ┃           ┃
            // ┗━━━━━━━━━━━┻━━━━━━━━━━━┻━━━━━━━━━━━╋━━━━━━━━━━━╋━━━━━━━━━━━╋━━━━━━━━━━━┫   ┣━━━━━━━━━━━╋━━━━━━━━━━━╋━━━━━━━━━━━╋━━━━━━━━━━━┻━━━━━━━━━━━┻━━━━━━━━━━━┛
            //                                     ┃           ┃           ┃           ┃   ┃           ┃           ┃           ┃
            //                                     ┗━━━━━━━━━━━┻━━━━━━━━━━━┻━━━━━━━━━━━┛   ┗━━━━━━━━━━━┻━━━━━━━━━━━┻━━━━━━━━━━━┛

            bindings = <
       &none                     &kp LG(LA(LS(NUMBER_6)))  &none               &none              &none                       &none  &none  &none  &kp LS(LA(LG(O)))         &none
       &kp LS(LA(LG(NUMBER_5)))  &kp LG(LA(LS(P)))         &kp LG(LA(LS(D)))   &kp LS(LA(LG(F)))  &kp LG(LA(LS(G)))           &none  &none  &none  &kp LS(LG(LA(NUMBER_4)))  &none
&none  &kp LG(LA(LS(Z)))         &kp LS(LA(LG(NUMBER_2)))  &kp LG(LA(LS(N1)))  &kp LS(LA(LG(V)))  &kp LG(LA(LS(NUMBER_3)))    &none  &none  &none  &kp LS(LG(LA(NUMBER_6)))  &none  &none
                                                           &none               &none              &none                       &none  &none  &none
            >;
        };

        jump {
            // ┏━━━━━━━━━━━━━━━━━━━━━━━━━━━━━━━━━━━━━━━┓

            label = "JUMP";

            // ┗━━━━━━━━━━━━━━━━━━━━━━━━━━━━━━━━━━━━━━━┛
            //             ┏━━━━━━━━━━━┳━━━━━━━━━━━┳━━━━━━━━━━━┳━━━━━━━━━━━┳━━━━━━━━━━━┓   ┏━━━━━━━━━━━┳━━━━━━━━━━━┳━━━━━━━━━━━┳━━━━━━━━━━━┳━━━━━━━━━━━┓
            //             ┃           ┃           ┃           ┃           ┃           ┃   ┃           ┃           ┃           ┃           ┃           ┃
            //             ┣━━━━━━━━━━━╋━━━━━━━━━━━╋━━━━━━━━━━━╋━━━━━━━━━━━╋━━━━━━━━━━━┫   ┣━━━━━━━━━━━╋━━━━━━━━━━━╋━━━━━━━━━━━╋━━━━━━━━━━━╋━━━━━━━━━━━┫
            //             ┃           ┃           ┃           ┃           ┃           ┃   ┃           ┃           ┃           ┃           ┃           ┃
            // ┏━━━━━━━━━━━╋━━━━━━━━━━━╋━━━━━━━━━━━╋━━━━━━━━━━━╋━━━━━━━━━━━╋━━━━━━━━━━━┫   ┣━━━━━━━━━━━╋━━━━━━━━━━━╋━━━━━━━━━━━╋━━━━━━━━━━━╋━━━━━━━━━━━╋━━━━━━━━━━━┓
            // ┃           ┃           ┃           ┃           ┃           ┃           ┃   ┃           ┃           ┃           ┃           ┃           ┃           ┃
            // ┗━━━━━━━━━━━┻━━━━━━━━━━━┻━━━━━━━━━━━╋━━━━━━━━━━━╋━━━━━━━━━━━╋━━━━━━━━━━━┫   ┣━━━━━━━━━━━╋━━━━━━━━━━━╋━━━━━━━━━━━╋━━━━━━━━━━━┻━━━━━━━━━━━┻━━━━━━━━━━━┛
            //                                     ┃           ┃           ┃           ┃   ┃           ┃           ┃           ┃
            //                                     ┗━━━━━━━━━━━┻━━━━━━━━━━━┻━━━━━━━━━━━┛   ┗━━━━━━━━━━━┻━━━━━━━━━━━┻━━━━━━━━━━━┛

            bindings = <
       &graveQ  &graveW  &graveE  &graveR  &graveT    &none                   &double_amp       &none          &none          &none
       &graveA  &graveS  &graveD  &graveF  &graveG    &minus_greater_than     &less_than_minus  &equal_arrow   &less_equal    &greater_equal
&none  &graveZ  &graveX  &graveC  &graveV  &graveB    &exclamatory_and_equal  &equals_colon     &less_greater  &colon_double  &pipe_double    &none
                         &none    &none    &mo 1      &kp LS(LG(LA(A)))       &none             &none
            >;
        };

        marks {
            // ┏━━━━━━━━━━━━━━━━━━━━━━━━━━━━━━━━━━━━━━━┓

            label = "MARKS";

            // ┗━━━━━━━━━━━━━━━━━━━━━━━━━━━━━━━━━━━━━━━┛
            //             ┏━━━━━━━━━━━┳━━━━━━━━━━━┳━━━━━━━━━━━┳━━━━━━━━━━━┳━━━━━━━━━━━┓   ┏━━━━━━━━━━━┳━━━━━━━━━━━┳━━━━━━━━━━━┳━━━━━━━━━━━┳━━━━━━━━━━━┓
            //             ┃           ┃           ┃           ┃           ┃           ┃   ┃           ┃           ┃           ┃           ┃           ┃
            //             ┣━━━━━━━━━━━╋━━━━━━━━━━━╋━━━━━━━━━━━╋━━━━━━━━━━━╋━━━━━━━━━━━┫   ┣━━━━━━━━━━━╋━━━━━━━━━━━╋━━━━━━━━━━━╋━━━━━━━━━━━╋━━━━━━━━━━━┫
            //             ┃           ┃           ┃           ┃           ┃           ┃   ┃           ┃           ┃           ┃           ┃           ┃
            // ┏━━━━━━━━━━━╋━━━━━━━━━━━╋━━━━━━━━━━━╋━━━━━━━━━━━╋━━━━━━━━━━━╋━━━━━━━━━━━┫   ┣━━━━━━━━━━━╋━━━━━━━━━━━╋━━━━━━━━━━━╋━━━━━━━━━━━╋━━━━━━━━━━━╋━━━━━━━━━━━┓
            // ┃           ┃           ┃           ┃           ┃           ┃           ┃   ┃           ┃           ┃           ┃           ┃           ┃           ┃
            // ┗━━━━━━━━━━━┻━━━━━━━━━━━┻━━━━━━━━━━━╋━━━━━━━━━━━╋━━━━━━━━━━━╋━━━━━━━━━━━┫   ┣━━━━━━━━━━━╋━━━━━━━━━━━╋━━━━━━━━━━━╋━━━━━━━━━━━┻━━━━━━━━━━━┻━━━━━━━━━━━┛
            //                                     ┃           ┃           ┃           ┃   ┃           ┃           ┃           ┃
            //                                     ┗━━━━━━━━━━━┻━━━━━━━━━━━┻━━━━━━━━━━━┛   ┗━━━━━━━━━━━┻━━━━━━━━━━━┻━━━━━━━━━━━┛

            bindings = <
       &mQ  &mW  &mE    &mR    &mT      &none  &none  &none  &none  &none
       &mA  &mS  &mD    &mF    &mG      &none  &none  &none  &none  &none
&none  &mZ  &mX  &mC    &mV    &mB      &none  &none  &none  &none  &none  &none
                 &none  &none  &none    &none  &none  &none
            >;
        };

        signs {
            // ┏━━━━━━━━━━━━━━━━━━━━━━━━━━━━━━━━━━━━━━━┓

            label = "SIGNS";

            // ┗━━━━━━━━━━━━━━━━━━━━━━━━━━━━━━━━━━━━━━━┛
            //             ┏━━━━━━━━━━━┳━━━━━━━━━━━┳━━━━━━━━━━━┳━━━━━━━━━━━┳━━━━━━━━━━━┓   ┏━━━━━━━━━━━┳━━━━━━━━━━━┳━━━━━━━━━━━┳━━━━━━━━━━━┳━━━━━━━━━━━┓
            //             ┃           ┃           ┃           ┃           ┃           ┃   ┃           ┃           ┃           ┃           ┃           ┃
            //             ┣━━━━━━━━━━━╋━━━━━━━━━━━╋━━━━━━━━━━━╋━━━━━━━━━━━╋━━━━━━━━━━━┫   ┣━━━━━━━━━━━╋━━━━━━━━━━━╋━━━━━━━━━━━╋━━━━━━━━━━━╋━━━━━━━━━━━┫
            //             ┃           ┃           ┃           ┃           ┃           ┃   ┃           ┃           ┃           ┃           ┃           ┃
            // ┏━━━━━━━━━━━╋━━━━━━━━━━━╋━━━━━━━━━━━╋━━━━━━━━━━━╋━━━━━━━━━━━╋━━━━━━━━━━━┫   ┣━━━━━━━━━━━╋━━━━━━━━━━━╋━━━━━━━━━━━╋━━━━━━━━━━━╋━━━━━━━━━━━╋━━━━━━━━━━━┓
            // ┃           ┃           ┃           ┃           ┃           ┃           ┃   ┃           ┃           ┃           ┃           ┃           ┃           ┃
            // ┗━━━━━━━━━━━┻━━━━━━━━━━━┻━━━━━━━━━━━╋━━━━━━━━━━━╋━━━━━━━━━━━╋━━━━━━━━━━━┫   ┣━━━━━━━━━━━╋━━━━━━━━━━━╋━━━━━━━━━━━╋━━━━━━━━━━━┻━━━━━━━━━━━┻━━━━━━━━━━━┛
            //                                     ┃           ┃           ┃           ┃   ┃           ┃           ┃           ┃
            //                                     ┗━━━━━━━━━━━┻━━━━━━━━━━━┻━━━━━━━━━━━┛   ┗━━━━━━━━━━━┻━━━━━━━━━━━┻━━━━━━━━━━━┛

            bindings = <
       &none         &none      &none         &none  &none    &kp LS(MINUS)     &kp LS(EQUAL)         &kp LA(EQUAL)          &none       &none
       &kp LEFT_ALT  &kp LCTRL  &kp LEFT_GUI  &none  &none    &kp LS(N1)        &kp LS(N2)            &kp LS(N3)             &kp LS(N4)  &kp LS(N5)
&none  &none         &none      &none         &none  &none    &kp LS(NUMBER_6)  &kp LS(N7)            &kp LS(N8)             &kp LS(N9)  &kp LS(N0)  &kp LS(BACKSLASH)
                                &trans        &none  &none    &none             &kp LEFT_PARENTHESIS  &kp RIGHT_PARENTHESIS
            >;
        };

        layer_8 {
            bindings = <
        &trans  &trans  &trans  &trans  &trans    &trans  &trans         &trans  &trans  &trans
        &trans  &trans  &trans  &trans  &trans    &trans  &trans         &trans  &trans  &trans
&trans  &trans  &trans  &trans  &trans  &trans    &trans  &left_brace_m  &trans  &trans  &curly_to  &bracket_next
                        &trans  &trans  &trans    &trans  &trans         &trans
            >;
        };

        layer_9 {
            bindings = <
        &trans  &trans  &trans  &trans  &trans    &trans  &trans          &trans  &trans  &trans
        &trans  &trans  &trans  &trans  &trans    &trans  &trans          &trans  &trans  &trans
&trans  &trans  &trans  &trans  &trans  &trans    &trans  &right_brace_m  &trans  &trans  &trans  &trans
                        &trans  &trans  &trans    &trans  &trans          &trans
            >;
        };

        layer_10 {
            bindings = <
        &trans    &trans    &comma_e  &trans    &comma_t    &trans  &trans     &trans  &trans  &trans
        &trans    &comma_s  &trans    &comma_f  &trans      &trans  &trans     &trans  &trans  &trans
&trans  &comma_z  &trans    &trans    &trans    &comma_b    &trans  &kp ENTER  &trans  &trans  &trans  &trans
                            &trans    &trans    &trans      &trans  &trans     &trans
            >;
        };
    };
};
